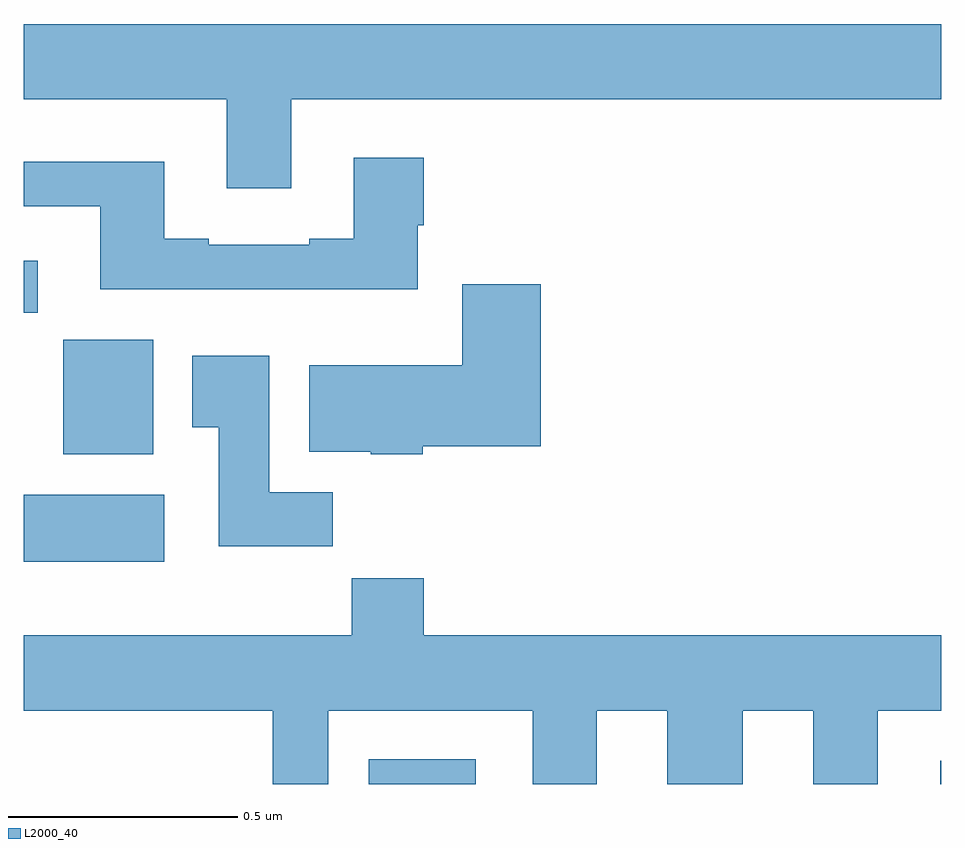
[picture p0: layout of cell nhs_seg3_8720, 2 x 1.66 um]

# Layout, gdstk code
import gdstk
lib = gdstk.Library(unit=1e-6, precision=1e-09)
def R(c, l, rs):  # rectangles x0, y0, x1, y1
    for r in rs: c.add(gdstk.rectangle(r[:2], r[2:], *l))
def P(c, l, *ps):  # polygons
    for p in ps: c.add(gdstk.Polygon(p, *l))
L2000_40 = (2000, 40)

nhs_seg3_8720 = lib.new_cell('nhs_seg3_8720')
R(nhs_seg3_8720, L2000_40, [(219.752,723.4,219.985,723.454), (220.997,723.4,221,723.451), (219,723.884,219.307,724.03), (219.087,724.118,219.283,724.368), (219,724.427,219.031,724.54)])
P(nhs_seg3_8720, L2000_40, [(219.583,724.892),(221,724.892),(221,725.056),(219,725.056),(219,724.892),(219.443,724.892),(219.443,724.698),(219.583,724.698)],
  [(219.859,724.617),(219.872,724.617),(219.872,724.765),(219.719,724.765),(219.719,724.588),(219.623,724.588),(219.623,724.575),(219.403,724.575),(219.403,724.588),(219.307,724.588),(219.307,724.756),(219,724.756),(219,724.659),(219.167,724.659),(219.167,724.478),(219.859,724.478)],
  [(219.87,724.136),(220.127,724.136),(220.127,724.489),(219.956,724.489),(219.956,724.312),(219.623,724.312),(219.623,724.124),(219.756,724.124),(219.756,724.118),(219.87,724.118)],
  [(219.674,724.036),(219.535,724.036),(219.535,724.333),(219.368,724.333),(219.368,724.177),(219.425,724.177),(219.425,723.918),(219.674,723.918)],
  [(219.664,723.56),(220.109,723.56),(220.109,723.4),(220.249,723.4),(220.249,723.56),(220.403,723.56),(220.403,723.4),(220.567,723.4),(220.567,723.56),(220.721,723.56),(220.721,723.4),(220.861,723.4),(220.861,723.56),(221,723.56),(221,723.724),(219.872,723.724),(219.872,723.848),(219.715,723.848),(219.715,723.724),(219,723.724),(219,723.56),(219.543,723.56),(219.543,723.4),(219.664,723.4)])

lib.write_gds('nhs_seg3_8720.gds')
